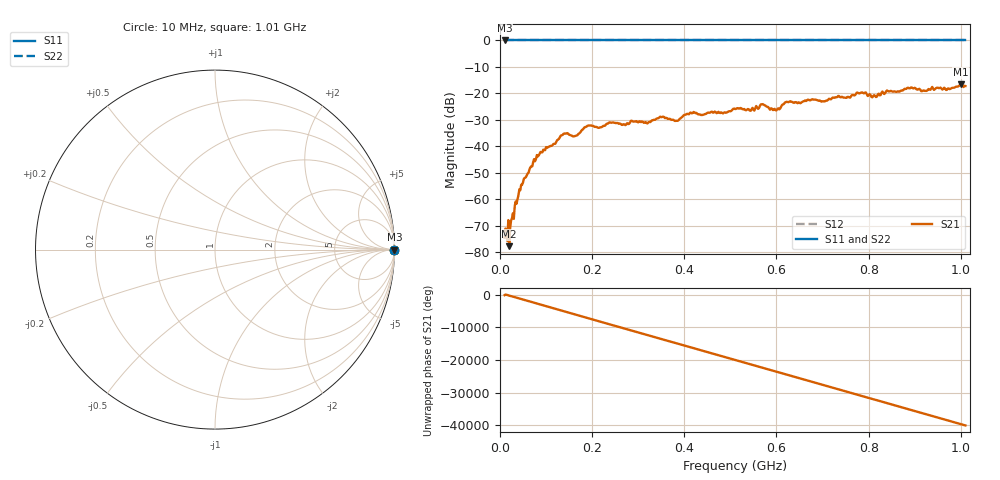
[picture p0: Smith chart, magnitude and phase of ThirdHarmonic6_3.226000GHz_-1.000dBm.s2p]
! 8/17/2025 9:51:53 AM
! C:\ANRITSUVNA\TEMP\TEMP.S2P
! CHANNEL.1
! TR.MEASUREMENT
! RAW.DATA
! RF.CORRECTION.OFF
! AVERAGING.OFF
! IF.BANDWIDTH: 5KHZ
! SWEEPTYPE:  FREQ.SWEEP(Linear)
! Reference Plane Port Info
! PORT:  PORT1  PORT2
! DISTANCE:  0  m  0  m
! TIME:  0  s  0  s
! PHASE.OFFSET:  0  deg.  0  deg.
! LOSS:  0  dB  0  dB
! REF.LOSS:  0  dB  0  dB
! REF.FREQ:  0  Hz  0  Hz
! Power Info
! POWER:  -20  dBm  -20  dBm
! EFF.POWER:  -20  dBm  -20  dBm
! SOURCE.ATTEN:  0  dB  0  dB
! TEST.ATTEN:  0  dB  0  dB
# GHZ S RI R 50.0
! FREQ.GHZ  S11RE  S11IM  S21RE  S21IM  S12RE  S12IM  S22RE  S22IM
!; PortSelection: Port_12
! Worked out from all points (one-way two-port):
!   501 points, 10 MHz to 1.01 GHz, reference 50 ohm
!   highest |S21| = -16.55 dB at 1 GHz (marker M1); lowest = -77.7 dB at 20 MHz (marker M2)
!   lowest |S11| = 0.0 dB at 10 MHz (marker M3)
!   |S11| at or under -10 dB: nowhere
!   |S22| runs from 0.0 to 0.0 dB; largest |S21 - S12| = 1.1
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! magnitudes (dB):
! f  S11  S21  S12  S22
! 10 MHz  0.0  -74.5  0.0  0.0
! 20 MHz  0.0  -77.7  0.0  0.0
! 46 MHz  0.0  -54.5  0.0  0.0
! 76 MHz  0.0  -45.6  0.0  0.0
! 136 MHz  0.0  -35.7  0.0  0.0
! 162 MHz  0.0  -36.2  0.0  0.0
! 178 MHz  0.0  -33.8  0.0  0.0
! 194 MHz  0.0  -32.1  0.0  0.0
! 344 MHz  0.0  -29.4  0.0  0.0
! 384 MHz  0.0  -30.4  0.0  0.0
! 416 MHz  0.0  -27.5  0.0  0.0
! 510 MHz  0.0  -25.9  0.0  0.0
! 548 MHz  0.0  -25.5  0.0  0.0
! 570 MHz  0.0  -24.1  0.0  0.0
! 596 MHz  0.0  -25.8  0.0  0.0
! 622 MHz  0.0  -23.2  0.0  0.0
! 678 MHz  0.0  -22.2  0.0  0.0
! 778 MHz  0.0  -20.0  0.0  0.0
! 812 MHz  0.0  -20.7  0.0  0.0
! 844 MHz  0.0  -19.3  0.0  0.0
! 1 GHz  0.0  -16.6  0.0  0.0
! 1.01 GHz  0.0  -17.2  0.0  0.0
